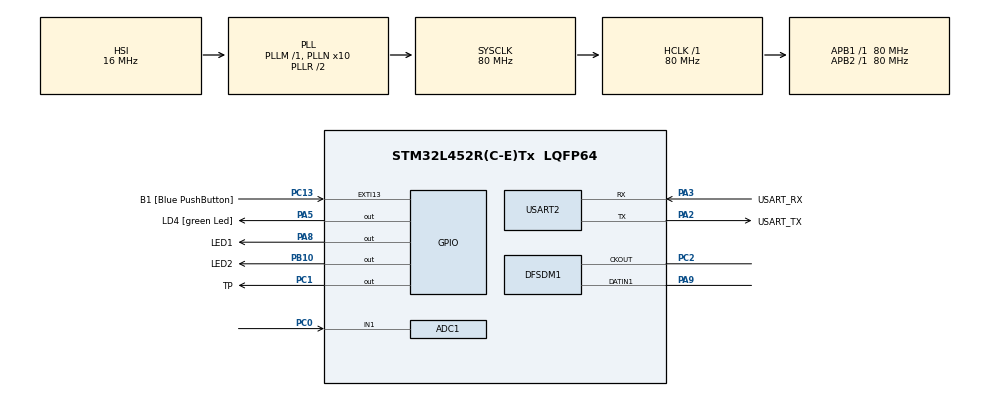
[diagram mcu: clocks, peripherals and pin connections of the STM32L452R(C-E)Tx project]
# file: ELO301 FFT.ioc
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ADC1.Channel-0\#ChannelRegularConversion=ADC_CHANNEL_1
ADC1.ClockPrescaler=ADC_CLOCK_ASYNC_DIV128
ADC1.ContinuousConvMode=ENABLE
ADC1.NbrOfConversionFlag=1
ADC1.OffsetNumber-0\#ChannelRegularConversion=ADC_OFFSET_NONE
ADC1.Rank-0\#ChannelRegularConversion=1
ADC1.SamplingTime-0\#ChannelRegularConversion=ADC_SAMPLETIME_12CYCLES_5
ADC1.master=1
DFSDM1.Divider=40
DFSDM1.DmaMode_reg_FIL0=ENABLE
DFSDM1.Filter_regChannel_FIL0=DFSDM_CHANNEL_0
DFSDM1.Fosr_FIL0=500
Dma.DFSDM1_FLT0.0.Direction=DMA_PERIPH_TO_MEMORY
Dma.DFSDM1_FLT0.0.Instance=DMA1_Channel4
Dma.DFSDM1_FLT0.0.MemDataAlignment=DMA_MDATAALIGN_WORD
Dma.DFSDM1_FLT0.0.MemInc=DMA_MINC_ENABLE
Dma.DFSDM1_FLT0.0.Mode=DMA_CIRCULAR
Dma.DFSDM1_FLT0.0.PeriphDataAlignment=DMA_PDATAALIGN_WORD
Dma.DFSDM1_FLT0.0.PeriphInc=DMA_PINC_DISABLE
Dma.DFSDM1_FLT0.0.Priority=DMA_PRIORITY_LOW
Dma.Request0=DFSDM1_FLT0
Mcu.Family=STM32L4
Mcu.Name=STM32L452R(C-E)Tx
Mcu.Package=LQFP64
NVIC.ADC1_IRQn=true\:0\:0\:false\:false\:true\:true\:true\:true
NVIC.DFSDM1_FLT0_IRQn=true\:0\:0\:false\:false\:true\:true\:true\:true
NVIC.DMA1_Channel4_IRQn=true\:0\:0\:false\:false\:true\:false\:true\:true
NVIC.EXTI15_10_IRQn=true\:0\:0\:false\:false\:true\:true\:true\:true
NVIC.PriorityGroup=NVIC_PRIORITYGROUP_4
PA13\ (JTMS/SWDIO).GPIO_Label=TMS
PA13\ (JTMS/SWDIO).Mode=Serial_Wire
PA13\ (JTMS/SWDIO).Signal=SYS_JTMS-SWDIO
PA14\ (JTCK/SWCLK).GPIO_Label=TCK
PA14\ (JTCK/SWCLK).Mode=Serial_Wire
PA14\ (JTCK/SWCLK).Signal=SYS_JTCK-SWCLK
PA2.GPIO_Label=USART_TX
PA2.GPIO_Mode=GPIO_MODE_AF_PP
PA2.GPIO_PuPd=GPIO_NOPULL
PA2.GPIO_Speed=GPIO_SPEED_FREQ_VERY_HIGH
PA2.Mode=Asynchronous
PA2.Signal=USART2_TX
PA3.GPIO_Label=USART_RX
PA3.GPIO_Mode=GPIO_MODE_AF_PP
PA3.GPIO_PuPd=GPIO_NOPULL
PA3.GPIO_Speed=GPIO_SPEED_FREQ_VERY_HIGH
PA3.Mode=Asynchronous
PA3.Signal=USART2_RX
PA5.GPIO_Label=LD4 [green Led]
PA5.GPIO_ModeDefaultOutputPP=GPIO_MODE_OUTPUT_PP
PA5.GPIO_PuPd=GPIO_NOPULL
PA5.GPIO_Speed=GPIO_SPEED_FREQ_LOW
PA5.Signal=GPIO_Output
PA8.GPIO_Label=LED1
PA8.Signal=GPIO_Output
PA9.Signal=S_DATAIN1DFSDM1
PB10.GPIO_Label=LED2
PB10.Signal=GPIO_Output
PB3\ (JTDO/TRACESWO).GPIO_Label=SWO
PB3\ (JTDO/TRACESWO).Signal=SYS_JTDO-SWO
PC0.Signal=ADCx_IN1
PC1.GPIO_Label=TP
PC1.Signal=GPIO_Output
PC13.GPIO_Label=B1 [Blue PushButton]
PC13.GPIO_ModeDefaultEXTI=GPIO_MODE_IT_FALLING
PC13.GPIO_PuPd=GPIO_NOPULL
PC13.Signal=GPXTI13
PC14-OSC32_IN\ (PC14).Mode=LSE-External-Oscillator
PC14-OSC32_IN\ (PC14).Signal=RCC_OSC32_IN
PC15-OSC32_OUT\ (PC15).Mode=LSE-External-Oscillator
PC15-OSC32_OUT\ (PC15).Signal=RCC_OSC32_OUT
PC2.Signal=S_CKOUTDFSDM1
PH0-OSC_IN\ (PH0).Signal=RCC_OSC_IN
PH1-OSC_OUT\ (PH1).Signal=RCC_OSC_OUT
ProjectManager.HeapSize=0x200
ProjectManager.StackSize=0x400
ProjectManager.TargetToolchain=STM32CubeIDE
RCC.ADCFreq_Value=64000000
RCC.AHBFreq_Value=80000000
RCC.APB1Freq_Value=80000000
RCC.APB1TimFreq_Value=80000000
RCC.APB2Freq_Value=80000000
RCC.APB2TimFreq_Value=80000000
RCC.CortexFreq_Value=80000000
RCC.HCLKFreq_Value=80000000
RCC.HSE_VALUE=8000000
RCC.HSI48_VALUE=48000000
RCC.HSI_VALUE=16000000
RCC.MSI_VALUE=4000000
RCC.PLLN=10
RCC.PLLSourceVirtual=RCC_PLLSOURCE_HSI
RCC.PREFETCH_ENABLE=1
RCC.SYSCLKFreq_VALUE=80000000
RCC.SYSCLKSource=RCC_SYSCLKSOURCE_PLLCLK
RCC.USBFreq_Value=64000000
RCC.VCOOutputFreq_Value=160000000
SH.ADCx_IN1.0=ADC1_IN1,IN1-Single-Ended
SH.S_CKOUTDFSDM1.0=DFSDM1_CKOUT,PDM_SPI_Input_from_ch01_and_Internal_Clock
SH.S_CKOUTDFSDM1.1=DFSDM1_CKOUT,CKOUT
SH.S_DATAIN1DFSDM1.0=DFSDM1_DATIN1,PDM_SPI_Input_from_ch01_and_Internal_Clock
USART2.VirtualMode-Asynchronous=VM_ASYNC
board=NUCLEO-L452RE

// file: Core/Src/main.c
/* USER CODE BEGIN Header */
/**
  ******************************************************************************
  * @file           : main.c
  * @brief          : Main program body
  ******************************************************************************
  * @attention
  *
  * Copyright (c) 2024 STMicroelectronics.
  * All rights reserved.
  *
  * This software is licensed under terms that can be found in the LICENSE file
  * in the root directory of this software component.
  * If no LICENSE file comes with this software, it is provided AS-IS.
  *
  ******************************************************************************
  */
/* USER CODE END Header */
#include "main.h"

/* USER CODE BEGIN Includes */
#include <stdint.h>
#include <stdio.h>
#include "fft.h"
#include "arm_math.h"
#include "arm_const_structs.h"
/* USER CODE END Includes */

/* USER CODE BEGIN PD */
#define TEST_LENGTH_SAMPLES 2048
#define TOL 1
/* USER CODE END PD */

/* USER CODE BEGIN PM */
int dataindex=0;
int data[6]= {82,110,146,196,246,329};
/* USER CODE END PM */

ADC_HandleTypeDef hadc1;

DFSDM_Filter_HandleTypeDef hdfsdm1_filter0;
DFSDM_Channel_HandleTypeDef hdfsdm1_channel0;
DMA_HandleTypeDef hdma_dfsdm1_flt0;

UART_HandleTypeDef huart2;

/* USER CODE BEGIN PV */
/* -------------------------------------------------------------------
* External Input and Output buffer Declarations for FFT Bin Example
* ------------------------------------------------------------------- */
extern float32_t testInput_f32_10khz[TEST_LENGTH_SAMPLES];
static float32_t testOutput[TEST_LENGTH_SAMPLES/2];
int32_t dfsdm_buffer[TEST_LENGTH_SAMPLES/2];
uint32_t fftSize = 1024;
uint32_t ifftFlag = 0;
uint32_t doBitReverse = 1;

static uint8_t adc_status = 0;
uint16_t adc_value = 0;
uint8_t mic_status = 0;
float32_t mic_value = 0;

/* Reference index at which max energy of bin ocuurs */
uint32_t refIndex = 213, testIndex = 0;
/* USER CODE END PV */

void SystemClock_Config(void);
static void MX_GPIO_Init(void);
static void MX_DMA_Init(void);
static void MX_USART2_UART_Init(void);
static void MX_ADC1_Init(void);
static void MX_DFSDM1_Init(void);

/* USER CODE BEGIN 0 */
void checkFrequencyAndSetLEDs(uint32_t detectedFreq, int refFreq) {
    if (detectedFreq < refFreq - TOL) {
        // Frecuencia menor a la referencia
        HAL_GPIO_WritePin(LED1_GPIO_Port, LED1_Pin, GPIO_PIN_SET);
        HAL_GPIO_WritePin(LED2_GPIO_Port, LED2_Pin, GPIO_PIN_RESET);
    } else if (detectedFreq > refFreq + TOL) {
        // Frecuencia mayor a la referencia
        HAL_GPIO_WritePin(LED1_GPIO_Port, LED1_Pin, GPIO_PIN_RESET);
        HAL_GPIO_WritePin(LED2_GPIO_Port, LED2_Pin, GPIO_PIN_SET);
    } else {
        // Frecuencia dentro del umbral
        HAL_GPIO_WritePin(LED1_GPIO_Port, LED1_Pin, GPIO_PIN_SET);
        HAL_GPIO_WritePin(LED2_GPIO_Port, LED2_Pin, GPIO_PIN_SET);
    }
}
/* USER CODE END 0 */

int main(void)
{

  /* USER CODE BEGIN 1 */
  uint16_t sample_counter = 0;

  /* USER CODE END 1 */

  /* MCU Configuration--------------------------------------------------------*/

  /* Reset of all peripherals, Initializes the Flash interface and the Systick. */
  HAL_Init();

  /* Configure the system clock */
  SystemClock_Config();

  /* Initialize all configured peripherals */
  MX_GPIO_Init();
  MX_DMA_Init();
  MX_USART2_UART_Init();
  MX_ADC1_Init();
  MX_DFSDM1_Init();
  /* USER CODE BEGIN 2 */
  arm_status status;
  float32_t maxValue;
if(HAL_DFSDM_FilterRegularStart_DMA(&hdfsdm1_filter0, (int32_t *)dfsdm_buffer, TEST_LENGTH_SAMPLES/2) != HAL_OK){
  Error_Handler();
}

#if 0
  /* Process the data through the CFFT/CIFFT module */
  arm_cfft_f32(&arm_cfft_sR_f32_len1024, testInput_f32_10khz, ifftFlag, doBitReverse);

  /* Process the data through the Complex Magnitude Module for
  calculating the magnitude at each bin */
  arm_cmplx_mag_f32(testInput_f32_10khz, testOutput, fftSize);

  /* Calculates maxValue and returns corresponding BIN value */
  arm_max_f32(testOutput, fftSize, &maxValue, &testIndex);

  if (testIndex !=  refIndex)
  {
    status = ARM_MATH_TEST_FAILURE;
  }
#endif
  /* USER CODE END 2 */

  /* Infinite loop */
  /* USER CODE BEGIN WHILE */
  while (1)
  {
	  if (mic_status == 1) {
      // Procesar datos de la FFT
      HAL_DFSDM_FilterRegularStart_DMA(&hdfsdm1_filter0, (int32_t *)dfsdm_buffer, TEST_LENGTH_SAMPLES / 2);

      for (int i = 0; i < (TEST_LENGTH_SAMPLES / 2); i++) {
          mic_value = dfsdm_buffer[i];
          testInput_f32_10khz[sample_counter++] = (float32_t)mic_value;
          testInput_f32_10khz[sample_counter++] = 0;
      }

      mic_status = 0;

      if (sample_counter >= TEST_LENGTH_SAMPLES) {
          arm_cfft_f32(&arm_cfft_sR_f32_len1024, testInput_f32_10khz, ifftFlag, doBitReverse);
          arm_cmplx_mag_f32(testInput_f32_10khz, testOutput, fftSize);
          arm_max_f32(testOutput + 1, (fftSize / 2) - 1, &maxValue, &testIndex);

          uint32_t detectedFreq = (1000 * (testIndex + 1)) / 1024;
          sample_counter = 0;

          printf("Frecuencia referencia: %lu hz,  Frecuencia detectada: %lu Hz\r\n",data[dataindex], detectedFreq);

          // Comparar con las frecuencias de referencia
          checkFrequencyAndSetLEDs(detectedFreq, data[dataindex]);

          // Ciclar por las frecuencias de referencia
          //dataindex = 3;//(dataindex + 1) % 6;
      }
  }

  HAL_Delay(1000); // Espera para evitar desbordes
}
    /* USER CODE END WHILE */

}

void SystemClock_Config(void)
{
  RCC_OscInitTypeDef RCC_OscInitStruct = {0};
  RCC_ClkInitTypeDef RCC_ClkInitStruct = {0};

  /** Configure the main internal regulator output voltage
  */
  if (HAL_PWREx_ControlVoltageScaling(PWR_REGULATOR_VOLTAGE_SCALE1) != HAL_OK)
  {
    Error_Handler();
  }

  /** Initializes the RCC Oscillators according to the specified parameters
  * in the RCC_OscInitTypeDef structure.
  */
  RCC_OscInitStruct.OscillatorType = RCC_OSCILLATORTYPE_HSI;
  RCC_OscInitStruct.HSIState = RCC_HSI_ON;
  RCC_OscInitStruct.HSICalibrationValue = 64;
  RCC_OscInitStruct.PLL.PLLState = RCC_PLL_ON;
  RCC_OscInitStruct.PLL.PLLSource = RCC_PLLSOURCE_HSI;
  RCC_OscInitStruct.PLL.PLLM = 1;
  RCC_OscInitStruct.PLL.PLLN = 10;
  RCC_OscInitStruct.PLL.PLLP = RCC_PLLP_DIV7;
  RCC_OscInitStruct.PLL.PLLQ = RCC_PLLQ_DIV2;
  RCC_OscInitStruct.PLL.PLLR = RCC_PLLR_DIV2;
  if (HAL_RCC_OscConfig(&RCC_OscInitStruct) != HAL_OK)
  {
    Error_Handler();
  }

  /** Initializes the CPU, AHB and APB buses clocks
  */
  RCC_ClkInitStruct.ClockType = RCC_CLOCKTYPE_HCLK|RCC_CLOCKTYPE_SYSCLK
                              |RCC_CLOCKTYPE_PCLK1|RCC_CLOCKTYPE_PCLK2;
  RCC_ClkInitStruct.SYSCLKSource = RCC_SYSCLKSOURCE_PLLCLK;
  RCC_ClkInitStruct.AHBCLKDivider = RCC_SYSCLK_DIV1;
  RCC_ClkInitStruct.APB1CLKDivider = RCC_HCLK_DIV1;
  RCC_ClkInitStruct.APB2CLKDivider = RCC_HCLK_DIV1;

  if (HAL_RCC_ClockConfig(&RCC_ClkInitStruct, FLASH_LATENCY_4) != HAL_OK)
  {
    Error_Handler();
  }
}

static void MX_ADC1_Init(void)
{

  ADC_ChannelConfTypeDef sConfig = {0};

  /** Common config
  */
  hadc1.Instance = ADC1;
  hadc1.Init.ClockPrescaler = ADC_CLOCK_ASYNC_DIV128;
  hadc1.Init.Resolution = ADC_RESOLUTION_12B;
  hadc1.Init.DataAlign = ADC_DATAALIGN_RIGHT;
  hadc1.Init.ScanConvMode = ADC_SCAN_DISABLE;
  hadc1.Init.EOCSelection = ADC_EOC_SINGLE_CONV;
  hadc1.Init.LowPowerAutoWait = DISABLE;
  hadc1.Init.ContinuousConvMode = ENABLE;
  hadc1.Init.NbrOfConversion = 1;
  hadc1.Init.DiscontinuousConvMode = DISABLE;
  hadc1.Init.ExternalTrigConv = ADC_SOFTWARE_START;
  hadc1.Init.ExternalTrigConvEdge = ADC_EXTERNALTRIGCONVEDGE_NONE;
  hadc1.Init.DMAContinuousRequests = DISABLE;
  hadc1.Init.Overrun = ADC_OVR_DATA_PRESERVED;
  hadc1.Init.OversamplingMode = DISABLE;
  hadc1.Init.DFSDMConfig = ADC_DFSDM_MODE_DISABLE;
  if (HAL_ADC_Init(&hadc1) != HAL_OK)
  {
    Error_Handler();
  }

  /** Configure Regular Channel
  */
  sConfig.Channel = ADC_CHANNEL_1;
  sConfig.Rank = ADC_REGULAR_RANK_1;
  sConfig.SamplingTime = ADC_SAMPLETIME_12CYCLES_5;
  sConfig.SingleDiff = ADC_SINGLE_ENDED;
  sConfig.OffsetNumber = ADC_OFFSET_NONE;
  sConfig.Offset = 0;
  if (HAL_ADC_ConfigChannel(&hadc1, &sConfig) != HAL_OK)
  {
    Error_Handler();
  }

}

static void MX_DFSDM1_Init(void)
{

  hdfsdm1_filter0.Instance = DFSDM1_Filter0;
  hdfsdm1_filter0.Init.RegularParam.Trigger = DFSDM_FILTER_SW_TRIGGER;
  hdfsdm1_filter0.Init.RegularParam.FastMode = DISABLE;
  hdfsdm1_filter0.Init.RegularParam.DmaMode = ENABLE;
  hdfsdm1_filter0.Init.FilterParam.SincOrder = DFSDM_FILTER_FASTSINC_ORDER;
  hdfsdm1_filter0.Init.FilterParam.Oversampling = 500;
  hdfsdm1_filter0.Init.FilterParam.IntOversampling = 1;
  if (HAL_DFSDM_FilterInit(&hdfsdm1_filter0) != HAL_OK)
  {
    Error_Handler();
  }
  hdfsdm1_channel0.Instance = DFSDM1_Channel0;
  hdfsdm1_channel0.Init.OutputClock.Activation = ENABLE;
  hdfsdm1_channel0.Init.OutputClock.Selection = DFSDM_CHANNEL_OUTPUT_CLOCK_SYSTEM;
  hdfsdm1_channel0.Init.OutputClock.Divider = 40;
  hdfsdm1_channel0.Init.Input.Multiplexer = DFSDM_CHANNEL_EXTERNAL_INPUTS;
  hdfsdm1_channel0.Init.Input.DataPacking = DFSDM_CHANNEL_STANDARD_MODE;
  hdfsdm1_channel0.Init.Input.Pins = DFSDM_CHANNEL_FOLLOWING_CHANNEL_PINS;
  hdfsdm1_channel0.Init.SerialInterface.Type = DFSDM_CHANNEL_SPI_RISING;
  hdfsdm1_channel0.Init.SerialInterface.SpiClock = DFSDM_CHANNEL_SPI_CLOCK_INTERNAL;
  hdfsdm1_channel0.Init.Awd.FilterOrder = DFSDM_CHANNEL_FASTSINC_ORDER;
  hdfsdm1_channel0.Init.Awd.Oversampling = 1;
  hdfsdm1_channel0.Init.Offset = 0;
  hdfsdm1_channel0.Init.RightBitShift = 0x00;
  if (HAL_DFSDM_ChannelInit(&hdfsdm1_channel0) != HAL_OK)
  {
    Error_Handler();
  }
  if (HAL_DFSDM_FilterConfigRegChannel(&hdfsdm1_filter0, DFSDM_CHANNEL_0, DFSDM_CONTINUOUS_CONV_ON) != HAL_OK)
  {
    Error_Handler();
  }

}

static void MX_USART2_UART_Init(void)
{

  huart2.Instance = USART2;
  huart2.Init.BaudRate = 115200;
  huart2.Init.WordLength = UART_WORDLENGTH_8B;
  huart2.Init.StopBits = UART_STOPBITS_1;
  huart2.Init.Parity = UART_PARITY_NONE;
  huart2.Init.Mode = UART_MODE_TX_RX;
  huart2.Init.HwFlowCtl = UART_HWCONTROL_NONE;
  huart2.Init.OverSampling = UART_OVERSAMPLING_16;
  huart2.Init.OneBitSampling = UART_ONE_BIT_SAMPLE_DISABLE;
  huart2.AdvancedInit.AdvFeatureInit = UART_ADVFEATURE_NO_INIT;
  if (HAL_UART_Init(&huart2) != HAL_OK)
  {
    Error_Handler();
  }

}

static void MX_DMA_Init(void)
{

  /* DMA controller clock enable */
  __HAL_RCC_DMA1_CLK_ENABLE();

  /* DMA interrupt init */
  /* DMA1_Channel4_IRQn interrupt configuration */
  HAL_NVIC_SetPriority(DMA1_Channel4_IRQn, 0, 0);
  HAL_NVIC_EnableIRQ(DMA1_Channel4_IRQn);

}

static void MX_GPIO_Init(void)
{
  GPIO_InitTypeDef GPIO_InitStruct = {0};

  /* GPIO Ports Clock Enable */
  __HAL_RCC_GPIOC_CLK_ENABLE();
  __HAL_RCC_GPIOH_CLK_ENABLE();
  __HAL_RCC_GPIOA_CLK_ENABLE();
  __HAL_RCC_GPIOB_CLK_ENABLE();

  /*Configure GPIO pin Output Level */
  HAL_GPIO_WritePin(TP_GPIO_Port, TP_Pin, GPIO_PIN_RESET);

  /*Configure GPIO pin Output Level */
  HAL_GPIO_WritePin(GPIOA, LD4_Pin|LED1_Pin, GPIO_PIN_RESET);

  /*Configure GPIO pin Output Level */
  HAL_GPIO_WritePin(LED2_GPIO_Port, LED2_Pin, GPIO_PIN_RESET);

  /*Configure GPIO pin : B1_Pin */
  GPIO_InitStruct.Pin = B1_Pin;
  GPIO_InitStruct.Mode = GPIO_MODE_IT_FALLING;
  GPIO_InitStruct.Pull = GPIO_NOPULL;
  HAL_GPIO_Init(B1_GPIO_Port, &GPIO_InitStruct);

  /*Configure GPIO pin : TP_Pin */
  GPIO_InitStruct.Pin = TP_Pin;
  GPIO_InitStruct.Mode = GPIO_MODE_OUTPUT_PP;
  GPIO_InitStruct.Pull = GPIO_NOPULL;
  GPIO_InitStruct.Speed = GPIO_SPEED_FREQ_LOW;
  HAL_GPIO_Init(TP_GPIO_Port, &GPIO_InitStruct);

  /*Configure GPIO pins : LD4_Pin LED1_Pin */
  GPIO_InitStruct.Pin = LD4_Pin|LED1_Pin;
  GPIO_InitStruct.Mode = GPIO_MODE_OUTPUT_PP;
  GPIO_InitStruct.Pull = GPIO_NOPULL;
  GPIO_InitStruct.Speed = GPIO_SPEED_FREQ_LOW;
  HAL_GPIO_Init(GPIOA, &GPIO_InitStruct);

  /*Configure GPIO pin : LED2_Pin */
  GPIO_InitStruct.Pin = LED2_Pin;
  GPIO_InitStruct.Mode = GPIO_MODE_OUTPUT_PP;
  GPIO_InitStruct.Pull = GPIO_NOPULL;
  GPIO_InitStruct.Speed = GPIO_SPEED_FREQ_LOW;
  HAL_GPIO_Init(LED2_GPIO_Port, &GPIO_InitStruct);

  /* EXTI interrupt init*/
  HAL_NVIC_SetPriority(EXTI15_10_IRQn, 0, 0);
  HAL_NVIC_EnableIRQ(EXTI15_10_IRQn);

}

/* USER CODE BEGIN 4 */
void HAL_ADC_ConvCpltCallback(ADC_HandleTypeDef *hadc)
{
  adc_status =1;
  //HAL_GPIO_TogglePin(TP_GPIO_Port, TP_Pin);
}
void HAL_DFSDM_FilterRegConvCpltCallback(DFSDM_Filter_HandleTypeDef *hdfsdm_filter)
{
	HAL_DFSDM_FilterInjectedStop_DMA(hdfsdm_filter);
  mic_status =1;
  HAL_GPIO_TogglePin(TP_GPIO_Port, TP_Pin);
}
void HAL_DFSDM_FilterErrorCallback(DFSDM_Filter_HandleTypeDef *hdfsdm_filter) {
	HAL_DFSDM_FilterGetRegularValue(&hdfsdm1_filter0,0);
}

void HAL_GPIO_EXTI_Callback(uint16_t GPIO_Pin) {
    if (GPIO_Pin == B1_Pin) { // Verifica si la interrupción es del botón
        dataindex = (dataindex + 1) % 6; // Incrementa el índice y lo cicla entre 0 y 5
        printf("�?ndice cambiado a: %d\r\n", dataindex);
    }
}

/* Add _write function to print over the uart */
int _write( int file, char *ptr, int len )
{
  HAL_UART_Transmit( &huart2, (uint8_t*) ptr, len, 50 );
  return len;
}

/* USER CODE END 4 */

void Error_Handler(void)
{
  __disable_irq();
  while (1)
  {
  }
}
